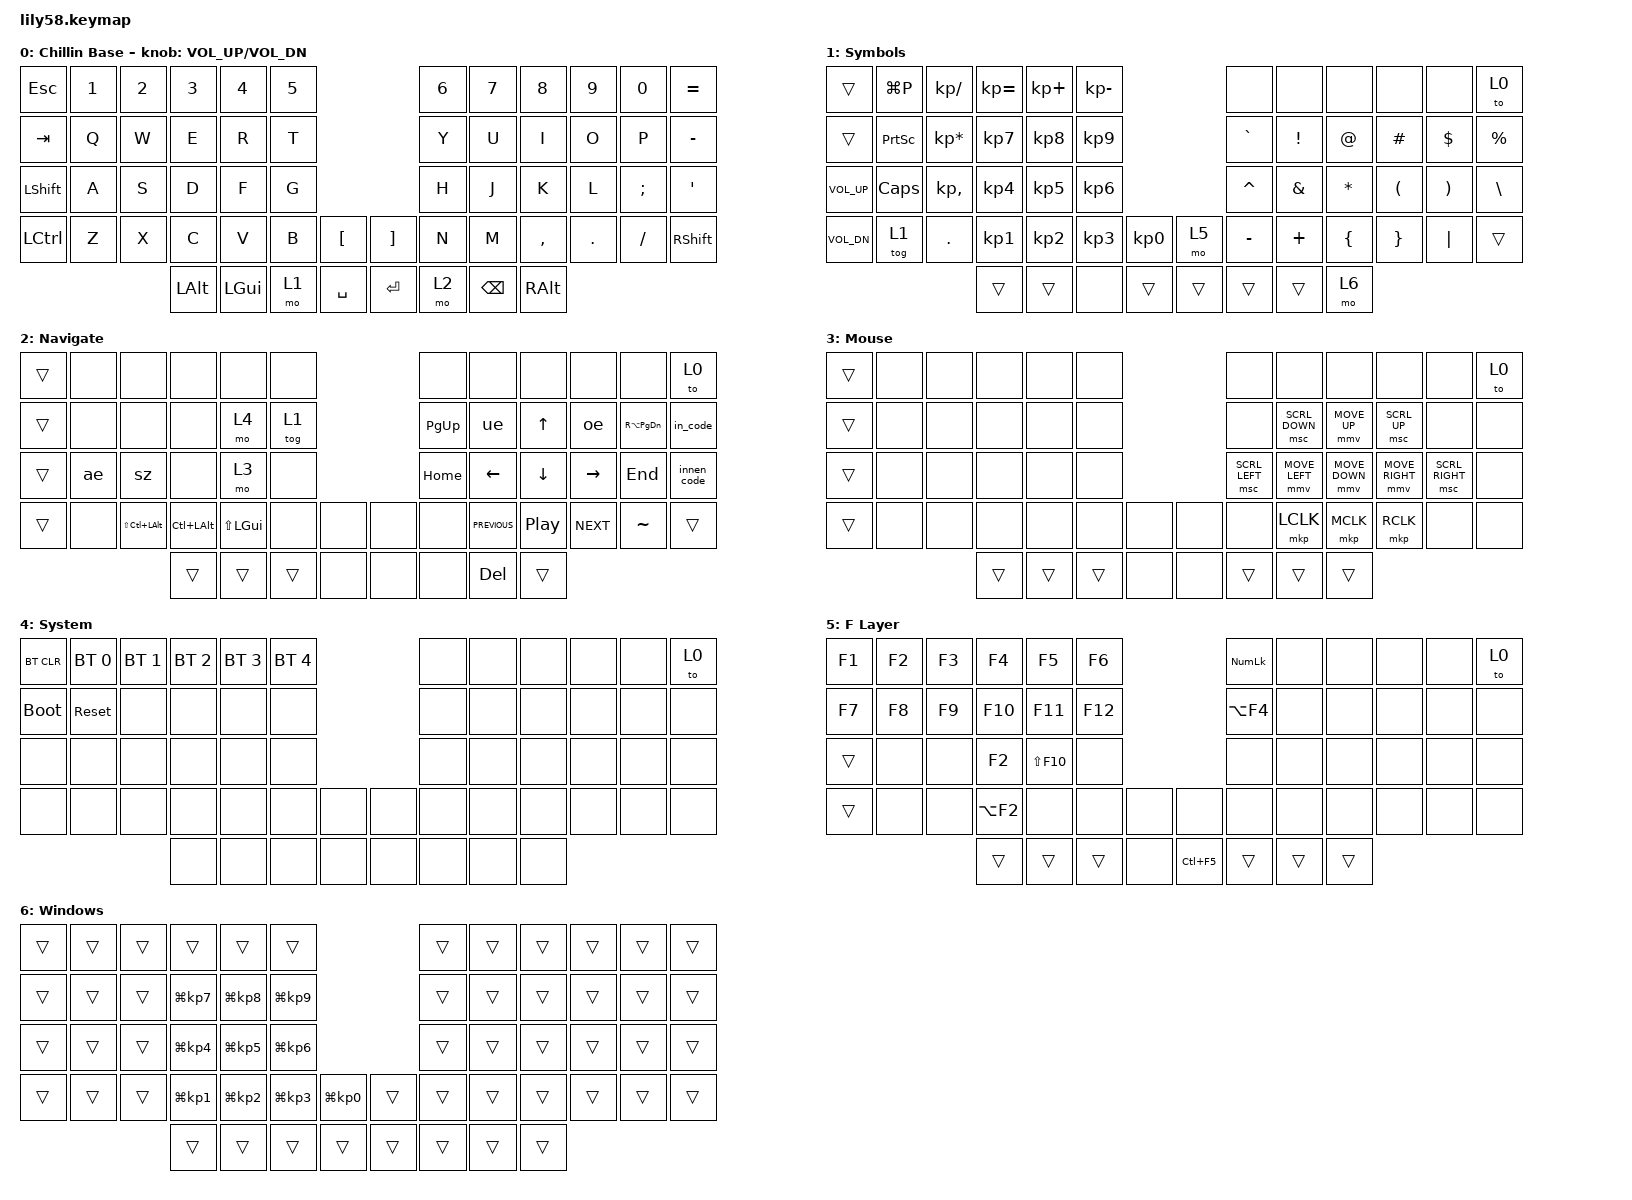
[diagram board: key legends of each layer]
/*
 * Copyright (c) 2020 The ZMK Contributors
 *
 * SPDX-License-Identifier: MIT
 */

#include <behaviors.dtsi>
#include <dt-bindings/zmk/bt.h>
#include <dt-bindings/zmk/keys.h>
#include <dt-bindings/zmk/pointing.h>

/ {
    macros {
        innen_code: innen_code {
            compatible = "zmk,behavior-macro";
            #binding-cells = <0>;
            bindings = <&kp BSLH &kp STAR &kp I &kp N &kp N &kp E &kp N>;
            label = "INNEN_CODE";
        };

        in_code: in_code {
            compatible = "zmk,behavior-macro";
            #binding-cells = <0>;
            bindings = <&kp BSLH &kp STAR &kp I &kp N>;
            label = "IN_CODE";
        };

        ae: ae {
            compatible = "zmk,behavior-macro";
            #binding-cells = <0>;
            bindings = <&kp CAPSLOCK &kp DOUBLE_QUOTES &kp A>;
            label = "AE";
        };

        ue: ue {
            compatible = "zmk,behavior-macro";
            #binding-cells = <0>;
            bindings = <&kp CAPSLOCK &kp DOUBLE_QUOTES &kp U>;
            label = "UE";
        };

        oe: oe {
            compatible = "zmk,behavior-macro";
            #binding-cells = <0>;
            bindings = <&kp CAPSLOCK &kp DOUBLE_QUOTES &kp O>;
            label = "OE";
        };

        sz: sz {
            compatible = "zmk,behavior-macro";
            #binding-cells = <0>;
            bindings = <&kp CAPSLOCK &kp S &kp S>;
            label = "SS";
        };
    };

    keymap {
        compatible = "zmk,keymap";

        default_layer {
            display-name = "Chillin Base";
            bindings = <
&kp ESC    &kp N1  &kp N2  &kp N3    &kp N4    &kp N5                         &kp N6  &kp N7    &kp N8     &kp N9   &kp N0    &kp EQUAL
&kp TAB    &kp Q   &kp W   &kp E     &kp R     &kp T                          &kp Y   &kp U     &kp I      &kp O    &kp P     &kp MINUS
&kp LSHFT  &kp A   &kp S   &kp D     &kp F     &kp G                          &kp H   &kp J     &kp K      &kp L    &kp SEMI  &kp SQT
&kp LCTRL  &kp Z   &kp X   &kp C     &kp V     &kp B   &kp LBKT     &kp RBKT  &kp N   &kp M     &kp COMMA  &kp DOT  &kp FSLH  &kp RSHFT
                           &kp LALT  &kp LGUI  &mo 1   &kp SPACE    &kp RET   &mo 2   &kp BSPC  &kp RALT
            >;

            sensor-bindings = <&inc_dec_kp C_VOL_UP C_VOL_DN>;
        };

        symbol {
            bindings = <
&trans        &kp LG(P)        &kp KP_DIVIDE    &kp KP_EQUAL  &kp KP_PLUS  &kp KP_MINUS                       &none      &none          &none           &none                 &none                  &to 0
&trans        &kp PRINTSCREEN  &kp KP_ASTERISK  &kp KP_N7     &kp KP_N8    &kp KP_N9                          &kp GRAVE  &kp EXCL       &kp AT          &kp HASH              &kp DOLLAR             &kp PERCENT
&kp C_VOL_UP  &kp CAPSLOCK     &kp KP_COMMA     &kp KP_N4     &kp KP_N5    &kp KP_N6                          &kp CARET  &kp AMPERSAND  &kp ASTRK       &kp LEFT_PARENTHESIS  &kp RIGHT_PARENTHESIS  &kp BACKSLASH
&kp C_VOL_DN  &tog 1           &kp DOT          &kp KP_N1     &kp KP_N2    &kp KP_N3     &kp KP_N0    &mo 5   &kp MINUS  &kp PLUS       &kp LEFT_BRACE  &kp RIGHT_BRACE       &kp PIPE               &trans
                                                &trans        &trans       &none         &trans       &trans  &trans     &trans         &mo 6
            >;

            label = "Symbols";
        };

        navigation {
            bindings = <
&trans  &none  &none             &none         &none             &none                   &none        &none           &none             &none       &none              &to 0
&trans  &none  &none             &none         &mo 4             &tog 1                  &kp PAGE_UP  &ue             &kp UP            &oe         &kp RA(PAGE_DOWN)  &in_code
&trans  &ae    &sz               &none         &mo 3             &none                   &kp HOME     &kp LEFT        &kp DOWN          &kp RIGHT   &kp END            &innen_code
&trans  &none  &kp LS(LC(LALT))  &kp LC(LALT)  &kp LS(LEFT_GUI)  &none   &none    &none  &none        &kp C_PREVIOUS  &kp C_PLAY_PAUSE  &kp C_NEXT  &kp TILDE          &trans
                                 &trans        &trans            &trans  &none    &none  &none        &kp DEL         &trans
            >;

            label = "Navigate";
        };

        mouse {
            bindings = <
&trans  &none  &none  &none   &none   &none                   &none           &none           &none           &none            &none            &to 0
&trans  &none  &none  &none   &none   &none                   &none           &msc SCRL_DOWN  &mmv MOVE_UP    &msc SCRL_UP     &none            &none
&trans  &none  &none  &none   &none   &none                   &msc SCRL_LEFT  &mmv MOVE_LEFT  &mmv MOVE_DOWN  &mmv MOVE_RIGHT  &msc SCRL_RIGHT  &none
&trans  &none  &none  &none   &none   &none   &none    &none  &none           &mkp LCLK       &mkp MCLK       &mkp RCLK        &none            &none
                      &trans  &trans  &trans  &none    &none  &trans          &trans          &trans
            >;

            label = "Mouse";
        };

        system {
            bindings = <
&bt BT_CLR   &bt BT_SEL 0  &bt BT_SEL 1  &bt BT_SEL 2  &bt BT_SEL 3  &bt BT_SEL 4                  &none  &none  &none  &none  &none  &to 0
&bootloader  &sys_reset    &none         &none         &none         &none                         &none  &none  &none  &none  &none  &none
&none        &none         &none         &none         &none         &none                         &none  &none  &none  &none  &none  &none
&none        &none         &none         &none         &none         &none         &none    &none  &none  &none  &none  &none  &none  &none
                                         &none         &none         &none         &none    &none  &none  &none  &none
            >;

            label = "System";
        };

        f_layer {
            bindings = <
&kp F1  &kp F2  &kp F3  &kp F4      &kp F5       &kp F6                        &kp KP_NUMLOCK  &none   &none   &none  &none  &to 0
&kp F7  &kp F8  &kp F9  &kp F10     &kp F11      &kp F12                       &kp LA(F4)      &none   &none   &none  &none  &none
&trans  &none   &none   &kp F2      &kp LS(F10)  &none                         &none           &none   &none   &none  &none  &none
&trans  &none   &none   &kp LA(F2)  &none        &none    &none    &none       &none           &none   &none   &none  &none  &none
                        &trans      &trans       &trans   &none    &kp LC(F5)  &trans          &trans  &trans
            >;

            label = "F Layer";
        };

        Windows {
            label = "Windows";
            bindings = <
&trans  &trans  &trans  &trans         &trans         &trans                                  &trans  &trans  &trans  &trans  &trans  &trans
&trans  &trans  &trans  &kp LG(KP_N7)  &kp LG(KP_N8)  &kp LG(KP_N9)                           &trans  &trans  &trans  &trans  &trans  &trans
&trans  &trans  &trans  &kp LG(KP_N4)  &kp LG(KP_N5)  &kp LG(KP_N6)                           &trans  &trans  &trans  &trans  &trans  &trans
&trans  &trans  &trans  &kp LG(KP_N1)  &kp LG(KP_N2)  &kp LG(KP_N3)  &kp LG(KP_N0)    &trans  &trans  &trans  &trans  &trans  &trans  &trans
                        &trans         &trans         &trans         &trans           &trans  &trans  &trans  &trans
            >;
        };
    };
};
